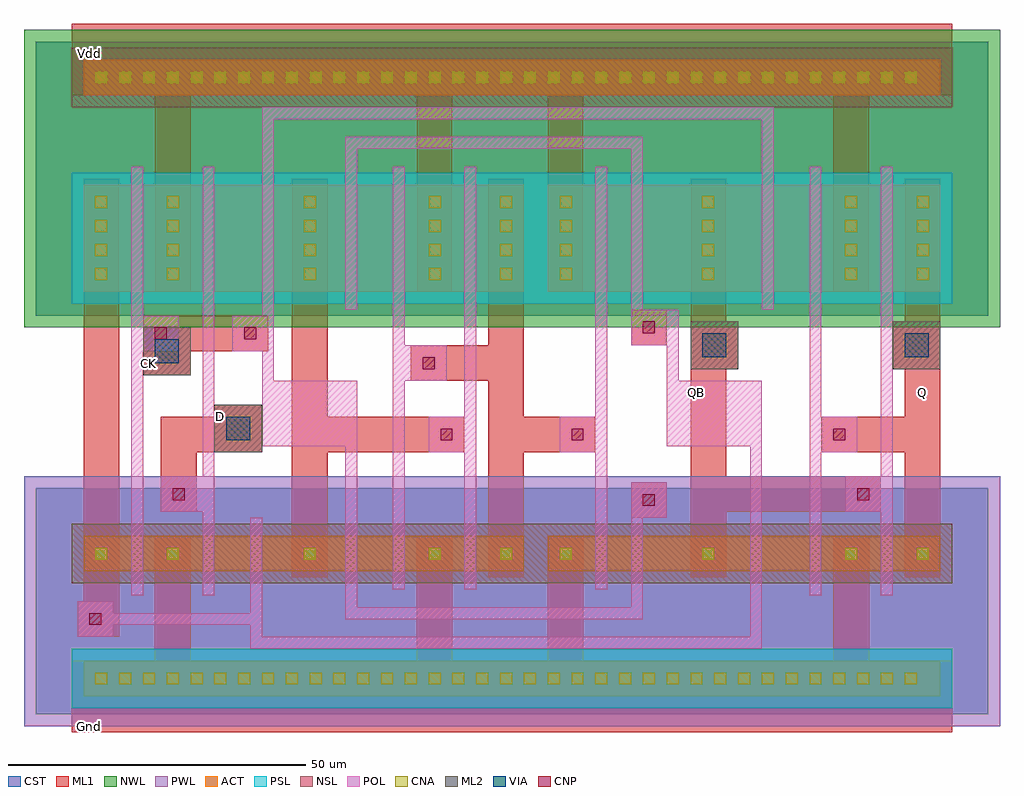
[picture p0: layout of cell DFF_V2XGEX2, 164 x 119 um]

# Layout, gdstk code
import gdstk
lib = gdstk.Library(unit=1e-6, precision=1e-09)
def R(c, l, rs):  # rectangles x0, y0, x1, y1
    for r in rs: c.add(gdstk.rectangle(r[:2], r[2:], *l))
def A(c, l, x, y, w, h, nx, ny, dx, dy):  # array of equal rectangles
    R(c, l, [(x+i*dx, y+j*dy, x+i*dx+w, y+j*dy+h) for i in range(nx) for j in range(ny)])
NWL = (1, 0)
PWL = (2, 0)
CST = (3, 0)
ACT = (4, 0)
POL = (7, 0)
NSL = (8, 0)
PSL = (9, 0)
CNA = (10, 0)
CNP = (11, 0)
ML1 = (12, 0)
VIA = (13, 0)
ML2 = (14, 0)

dff_v2xgex2 = lib.new_cell('DFF_V2XGEX2')
R(dff_v2xgex2, NWL, [(-8,68,156,118)])
R(dff_v2xgex2, PWL, [(-8,1,156,43)])
R(dff_v2xgex2, CST, [(-6,3,154,41), (-6,70,154,116)])
R(dff_v2xgex2, ACT, [(2,6,146,12), (2,27,76,33), (80,27,146,33), (2,74,76,92), (80,74,146,92), (2,107,146,113)])
R(dff_v2xgex2, POL, [(30,14,32,19), (32,14,114,16), (114,14,116,25), (1,16,7,22), (2,18,30,20), (30,18,32,36), (46,19,48,48), (48,19,94,21), (94,19,96,24), (10,23,12,95), (22,23,24,95), (124,23,126,95), (136,23,138,95), (54,24,56,95), (66,24,68,95), (88,24,90,95), (94,24,96,36), (114,24,116,48), (94,36,100,42), (15,37,21,43), (21,37,22,43), (130,37,136,43), (60,47,66,53), (82,47,88,53), (126,47,132,53), (32,48,48,59), (100,48,116,59), (32,59,34,104), (55,59,57,65), (57,59,63,65), (100,59,102,71), (12,64,18,70), (27,64,33,70), (94,65,100,71), (46,71,48,100), (94,71,96,95), (116,71,118,105), (94,95,96,100), (48,98,94,100), (32,103,116,105)])
R(dff_v2xgex2, NSL, [(0,25,148,35), (0,105,148,115)])
R(dff_v2xgex2, PSL, [(0,4,148,14), (0,72,148,94)])
A(dff_v2xgex2, CNA, 4, 8, 2, 2, 35, 2, 4, 101)
A(dff_v2xgex2, CNA, 82, 29, 2, 2, 3, 2, 24, 47)
A(dff_v2xgex2, CNA, 4, 76, 2, 2, 1, 4, 0, 4)
A(dff_v2xgex2, CNA, 16, 76, 2, 2, 1, 4, 0, 4)
A(dff_v2xgex2, CNA, 39, 76, 2, 2, 1, 4, 0, 4)
A(dff_v2xgex2, CNA, 60, 76, 2, 2, 1, 4, 0, 4)
A(dff_v2xgex2, CNA, 72, 76, 2, 2, 1, 4, 0, 4)
A(dff_v2xgex2, CNA, 142, 76, 2, 2, 1, 4, 0, 4)
A(dff_v2xgex2, CNA, 82, 80, 2, 2, 3, 3, 24, 4)
R(dff_v2xgex2, CNA, [(4,29,6,31), (16,29,18,31), (39,29,41,31), (60,29,62,31), (72,29,74,31), (142,29,144,31)])
R(dff_v2xgex2, CNP, [(3,18,5,20), (96,38,98,40), (17,39,19,41), (132,39,134,41), (62,49,64,51), (84,49,86,51), (128,49,130,51), (59,61,61,63), (14,66,16,68), (29,66,31,68), (96,67,98,69)])
R(dff_v2xgex2, ML1, [(0,0,148,12), (58,6,64,33), (80,6,86,33), (128,6,134,33), (14,12,20,33), (1,16,7,22), (2,16,8,26), (2,26,8,32), (37,26,43,93), (70,26,76,93), (104,26,110,93), (140,26,146,93), (2,32,8,93), (94,36,100,42), (15,37,21,43), (110,37,130,43), (130,37,136,43), (15,42,21,47), (15,47,32,53), (24,47,32,55), (42,47,60,53), (60,47,66,53), (76,47,82,53), (82,47,88,53), (126,47,132,53), (132,47,140,53), (57,59,63,65), (63,59,70,65), (12,60,20,68), (104,61,112,69), (138,61,146,69), (12,64,18,70), (18,64,27,70), (27,64,33,70), (94,65,100,71), (14,74,20,81), (58,74,64,112), (80,74,86,112), (128,74,134,112), (14,75,20,113), (0,107,148,119)])
R(dff_v2xgex2, VIA, [(26,49,30,53), (14,62,18,66), (106,63,110,67), (140,63,144,67)])
R(dff_v2xgex2, ML2, [(24,47,32,55), (12,60,20,68), (104,61,112,69), (138,61,146,69)])
dff_v2xgex2.add(gdstk.Label('Vdd', (3,114), layer=12, texttype=0))
dff_v2xgex2.add(gdstk.Label('D', (25,53), layer=12, texttype=0))
dff_v2xgex2.add(gdstk.Label('CK', (13,62), layer=12, texttype=0))
dff_v2xgex2.add(gdstk.Label('Q', (143,57), layer=12, texttype=0))
dff_v2xgex2.add(gdstk.Label('QB', (105,57), layer=12, texttype=0))
dff_v2xgex2.add(gdstk.Label('Gnd', (3,1), layer=12, texttype=0))

lib.write_gds('DFF_V2XGEX2.gds')
